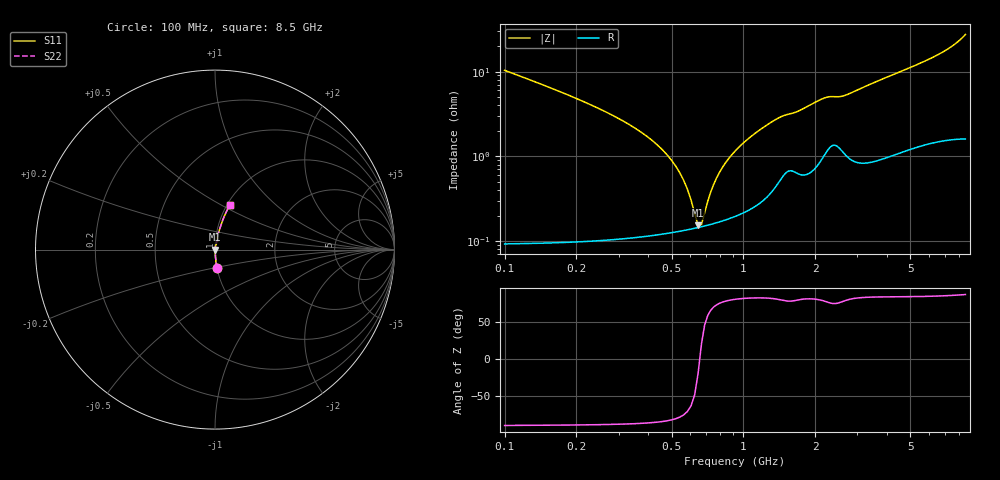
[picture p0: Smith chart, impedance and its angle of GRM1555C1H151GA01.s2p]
!Murata Part Number: GRM1555C1H151GA01
!These Parameters are Measured in Series Mode Connection
!Data Generated on Mar 30, 2021
!  o--ll--o
!Port1  Port2
!  o------o
!Operation Temp=25[degC], DC Bias Voltage=0[V]
!Freq. Start=100[MHz] Stop=9[GHz] 401[Steps]
# Hz S RI R 50
!Freq.(Hz) S11(Real) S11(Imag) S21(Real) S21(Imag) S12(Real) S12(Imag) S22(Real) S22(Imag)
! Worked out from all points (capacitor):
!   401 points, 100 MHz to 8.5 GHz, reference 50 ohm
!   read as one part in series: C = 150 pF near 142 MHz
!   lowest |Z| = 153 mohm at 646 MHz (marker M1)
!   series resonance near 656.3 MHz, so ESL is about 390 pH
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1e8  0.0115 -0.1023  0.9885 0.1023  0.9885 0.1023  0.0115 -0.1023
2.26e8  0.00269 -0.0412  0.9973 0.0412  0.9973 0.0412  0.00269 -0.0412
4.78e8  0.00133 -0.0104  0.9987 0.0104  0.9987 0.0104  0.00133 -0.0104
5.41e8  0.00134 -0.00627  0.9987 0.00627  0.9987 0.00627  0.00134 -0.00627
6.25e8  0.00141 -0.00157  0.9986 0.00157  0.9986 0.00157  0.00141 -0.00157
6.46e8  0.00144 -0.000506  0.9986 0.000506  0.9986 0.000506  0.00144 -0.000506
6.67e8  0.00147 0.000528  0.9985 -0.000528  0.9985 -0.000528  0.00147 0.000528
6.88e8  0.00151 0.00153  0.9985 -0.00153  0.9985 -0.00153  0.00151 0.00153
7.51e8  0.00162 0.00439  0.9984 -0.00439  0.9984 -0.00439  0.00162 0.00439
8.14e8  0.00177 0.00705  0.9982 -0.00705  0.9982 -0.00705  0.00177 0.00705
9.4e8  0.00213 0.012  0.9979 -0.012  0.9979 -0.012  0.00213 0.012
1.045e9  0.00253 0.0158  0.9975 -0.0158  0.9975 -0.0158  0.00253 0.0158
1.192e9  0.00333 0.0209  0.9967 -0.0209  0.9967 -0.0209  0.00333 0.0209
1.36e9  0.005 0.0265  0.995 -0.0265  0.995 -0.0265  0.005 0.0265
1.507e9  0.00724 0.0298  0.9928 -0.0298  0.9928 -0.0298  0.00724 0.0298
2.179e9  0.0123 0.0466  0.9877 -0.0466  0.9877 -0.0466  0.0123 0.0466
2.578e9  0.0139 0.0485  0.9861 -0.0485  0.9861 -0.0485  0.0139 0.0485
2.914e9  0.0118 0.0566  0.9882 -0.0566  0.9882 -0.0566  0.0118 0.0566
4.3e9  0.0187 0.0906  0.9813 -0.0906  0.9813 -0.0906  0.0187 0.0906
5.707e9  0.0296 0.1255  0.9704 -0.1255  0.9704 -0.1255  0.0296 0.1255
7.114e9  0.0457 0.1707  0.9543 -0.1707  0.9543 -0.1707  0.0457 0.1707
8.5e9  0.0825 0.2475  0.9175 -0.2475  0.9175 -0.2475  0.0825 0.2475
